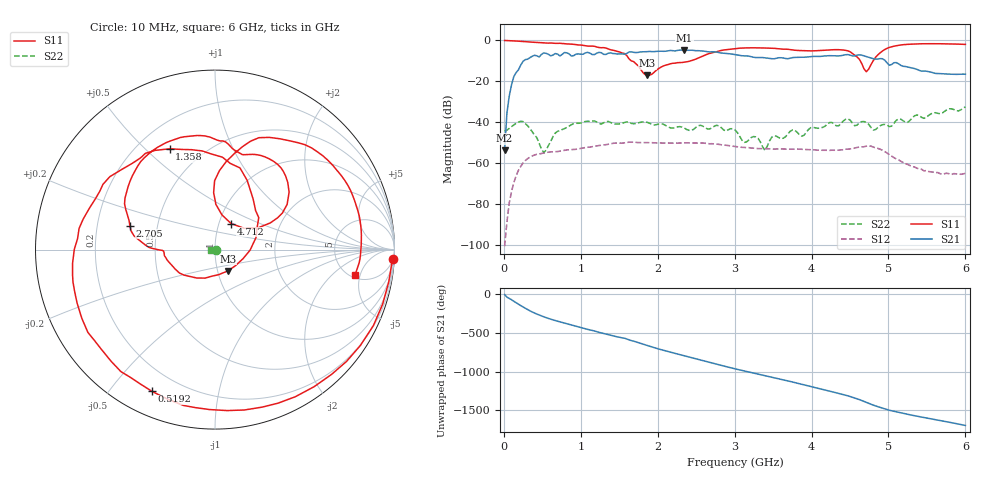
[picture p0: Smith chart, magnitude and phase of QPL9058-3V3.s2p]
!  13.04.2021  18:39:22
! Ref Plane: 0,000 mm
# MHZ S MA R  50
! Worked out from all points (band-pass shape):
!   201 points, 10 MHz to 6 GHz, reference 50 ohm
!   highest |S21| = -4.75 dB at 2.346 GHz (marker M1); lowest = -53.8 dB at 10 MHz (marker M2)
!   |S21| within 3 dB of the highest: 468.9 MHz to 3.185 GHz (2.716 GHz wide, 149 % of centre); 4.146 GHz to 4.693 GHz (546.4 MHz wide, 12.4 % of centre)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
!   lowest |S11| = -17.1 dB at 1.867 GHz (marker M3), VSWR 1.32, Z = 56 - j13.6 ohm
!   |S11| at or under -10 dB: 1.655 GHz to 2.432 GHz (776.5 MHz wide, 38 % of centre); 4.632 GHz to 4.801 GHz (169.1 MHz wide, 3.59 % of centre)
!   |S22| runs from -54.9 to -32.5 dB; largest |S21 - S12| = 0.58
!   S11 on the Smith chart (normalised r, x): 10 MHz: 7, -38; 519.1 MHz: 0.10, -0.64; 1.358 GHz: 0.33, +0.60; 2.705 GHz: 0.35, +0.12; 4.712 GHz: 1.14, +0.34; 6 GHz: 5.43, -4.14
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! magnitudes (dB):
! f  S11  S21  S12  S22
! 10 MHz  -0.1  -53.8  -100.6  -44.3
! 39.95 MHz  -0.1  -35.6  -89.0  -43.9
! 129.8 MHz  -0.3  -17.7  -69.5  -41.4
! 309.5 MHz  -0.8  -9.2  -57.8  -41.8
! 519.1 MHz  -1.3  -6.2  -55.1  -54.9
! 668.9 MHz  -1.5  -6.5  -54.5  -45.3
! 1.028 GHz  -2.5  -6.8  -52.6  -40.0
! 1.358 GHz  -4.2  -6.3  -50.8  -39.6
! 1.867 GHz  -17.1  -5.5  -50.0  -40.1
! 2.017 GHz  -13.7  -5.4  -50.1  -40.8
! 2.346 GHz  -10.7  -4.7  -50.1  -42.9
! 2.705 GHz  -6.1  -5.6  -50.5  -42.8
! 3.005 GHz  -4.1  -7.0  -51.9  -43.8
! 3.304 GHz  -3.7  -8.4  -52.9  -47.9
! 3.394 GHz  -3.8  -8.6  -52.9  -53.8
! 3.514 GHz  -3.9  -9.0  -53.2  -46.7
! 4.023 GHz  -5.2  -7.9  -53.5  -42.5
! 4.473 GHz  -5.2  -7.0  -53.2  -38.4
! 4.712 GHz  -15.4  -8.0  -51.7  -40.1
! 5.012 GHz  -3.5  -12.2  -55.9  -42.2
! 5.461 GHz  -1.7  -15.0  -63.8  -38.1
! 6 GHz  -2.0  -16.6  -65.0  -32.5
